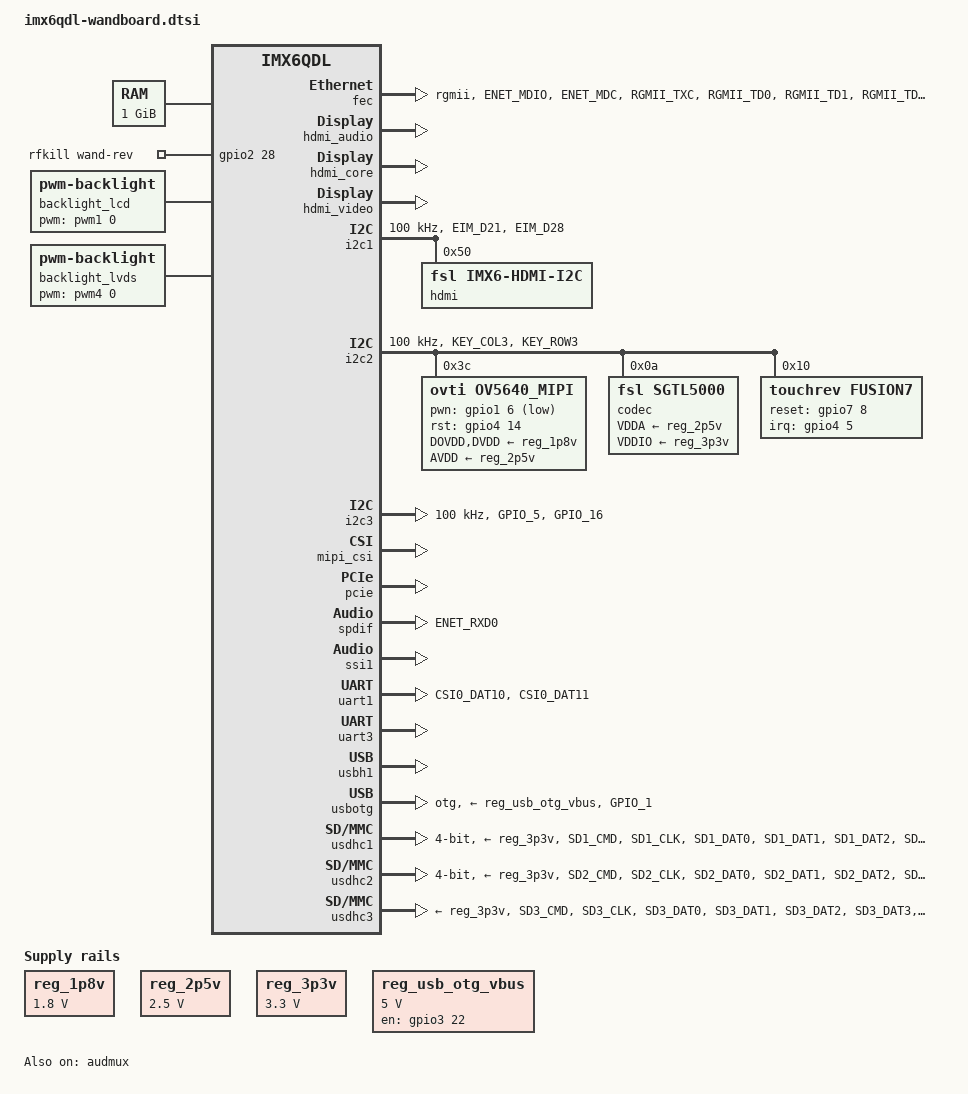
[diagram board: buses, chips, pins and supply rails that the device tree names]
/*
 * Copyright 2014 John Weber, Avnet Electronics Marketing
 * Copyright 2013 Boundary Devices
 * Copyright 2012 Freescale Semiconductor, Inc.
 * Copyright 2011 Linaro Ltd.
 *
 * The code contained herein is licensed under the GNU General Public
 * License. You may obtain a copy of the GNU General Public License
 * Version 2 or later at the following locations:
 *
 * http://www.opensource.org/licenses/gpl-license.html
 * http://www.gnu.org/copyleft/gpl.html
 */

/ {
	aliases {
		mxcfb0 = &mxcfb1;
		mxcfb1 = &mxcfb2;
		mxcfb2 = &mxcfb3;
		mxcfb3 = &mxcfb4;
	};

	memory {
		reg = <0x10000000 0x40000000>;
	};

	regulators {
		compatible = "simple-bus";

		reg_1p8v: 1p8v {
			compatible = "regulator-fixed";
			regulator-name = "1P8V";
			regulator-min-microvolt = <1800000>;
			regulator-max-microvolt = <1800000>;
			regulator-always-on;
		};

		reg_2p5v: 2p5v {
			compatible = "regulator-fixed";
			regulator-name = "2P5V";
			regulator-min-microvolt = <2500000>;
			regulator-max-microvolt = <2500000>;
			regulator-always-on;
		};

		reg_3p3v: 3p3v {
			compatible = "regulator-fixed";
			regulator-name = "3P3V";
			regulator-min-microvolt = <3300000>;
			regulator-max-microvolt = <3300000>;
			regulator-always-on;
		};

		reg_usb_otg_vbus: usb_otg_vbus {
			compatible = "regulator-fixed";
			regulator-name = "usb_otg_vbus";
			regulator-min-microvolt = <5000000>;
			regulator-max-microvolt = <5000000>;
			gpio = <&gpio3 22 0>;
			enable-active-high;
		};
	};

	sound {
		compatible = "fsl,imx6-wandboard-sgtl5000", 
                             "fsl,imx-audio-sgtl5000";
		model = "imx6-wandboard-sgtl5000";
		ssi-controller = <&ssi1>;
		audio-codec = <&codec>;
		audio-routing =
			"MIC_IN", "Mic Jack",
			"Mic Jack", "Mic Bias",
			"Headphone Jack", "HP_OUT";
		mux-int-port = <1>;
		mux-ext-port = <3>;
	};

        sound-spdif {
                compatible = "fsl,imx-audio-spdif";
                model = "imx-spdif";
                spdif-controller = <&spdif>;
                spdif-out;
        };

	sound-hdmi {
		compatible = "fsl,imx6q-audio-hdmi",
			     "fsl,imx-audio-hdmi";
		model = "imx-audio-hdmi";
		hdmi-controller = <&hdmi_audio>;
	};

        rfkill {
                compatible = "wand,imx6qdl-wandboard-rfkill";
                pinctrl-names = "default";
                pinctrl-0 = <>;

                bluetooth-on = <&gpio3 13 0>;
                bluetooth-wake = <&gpio3 14 0>;
                bluetooth-host-wake = <&gpio3 15 0>;

                wifi-ref-on = <&gpio2 29 0>;
                wifi-rst-n = <&gpio5 2 0>;
                wifi-reg-on = <&gpio1 26 0>;
                wifi-host-wake = <&gpio1 29 0>;
                wifi-wake = <&gpio1 30 0>;

		/* Rev C1 gpio definitions */
                bluetooth-on-revc1 = <&gpio5 21 0>;
                bluetooth-wake-revc1 = <&gpio5 30 0>;
                bluetooth-host-wake-revc1 = <&gpio5 20 0>;

                wifi-ref-on-revc1 = <&gpio5 31 0>;
                wifi-rst-n-revc1 = <&gpio6 0 0>;

		/* Rev B/C probe gpio */
		wand-rev-gpio = <&gpio2 28 0>;
        };

	mxcfb1: fb@0 {
		compatible = "fsl,mxc_sdc_fb";
		disp_dev = "hdmi";
		interface_pix_fmt = "RGB24";
		mode_str ="1920x1080M@60";
		default_bpp = <24>;
		int_clk = <0>;
		late_init = <0>;
		status = "disabled";
	};

        mxcfb2: fb@1 {
                compatible = "fsl,mxc_sdc_fb";
                disp_dev = "ldb";
                interface_pix_fmt = "RGB666";
                mode_str ="LDB-XGA";
                default_bpp = <16>;
                int_clk = <0>;
                late_init = <0>;
                status = "disabled";
        };

	mxcfb3: fb@2 {
		compatible = "fsl,mxc_sdc_fb";
		disp_dev = "lcd";
		interface_pix_fmt = "RGB565";
		mode_str ="CLAA-WVGA";
		default_bpp = <16>;
		int_clk = <0>;
		late_init = <0>;
		status = "disabled";
	};

	mxcfb4: fb@3 {
		compatible = "fsl,mxc_sdc_fb";
		disp_dev = "ldb";
		interface_pix_fmt = "RGB666";
		mode_str ="LDB-XGA";
		default_bpp = <16>;
		int_clk = <0>;
		late_init = <0>;
		status = "disabled";
	};

	lcd@0 {
		compatible = "fsl,lcd";
		ipu_id = <0>;
		disp_id = <0>;
		default_ifmt = "RGB565";
		pinctrl-names = "default";
		pinctrl-0 = <&pinctrl_ipu1_1>;
		status = "okay";
	};

	backlight_lcd {
		compatible = "pwm-backlight";
		pwms = <&pwm1 0 5000000>;
		brightness-levels = <0 4 8 16 32 64 128 255>;
		default-brightness-level = <7>;
	};

	backlight_lvds {
		compatible = "pwm-backlight";
		pwms = <&pwm4 0 5000000>;
		brightness-levels = <0 4 8 16 32 64 128 255>;
		default-brightness-level = <7>;
	};

	v4l2_cap_0 {
		compatible = "fsl,imx6q-v4l2-capture";
		ipu_id = <0>;
		csi_id = <0>;
		mclk_source = <0>;
		status = "okay";
	};

	v4l2_out {
		compatible = "fsl,mxc_v4l2_output";
		status = "okay";
	};

};


&audmux {
	pinctrl-names = "default";
	pinctrl-0 = <&pinctrl_audmux_2>;
	status = "okay";
};


&fec {
	pinctrl-names = "default";
	pinctrl-0 = <&pinctrl_enet_3>;
	phy-mode = "rgmii";
	status = "okay";
};

&hdmi_audio {
	status = "okay";
};

&hdmi_core {
	ipu_id = <0>;
	disp_id = <0>;
	status = "okay";
};

&hdmi_video {
	fsl,phy_reg_vlev = <0x0294>;
	fsl,phy_reg_cksymtx = <0x800d>;
	status = "okay";
};

&i2c1 {
	clock-frequency = <100000>;
	pinctrl-names = "default";
	pinctrl-0 = <&pinctrl_i2c1_1>;
	status = "okay";

	hdmi: edid@50 {
		compatible = "fsl,imx6-hdmi-i2c";
		reg = <0x50>;
	};

};

&i2c2 {
	clock-frequency = <100000>;
	pinctrl-names = "default";
	pinctrl-0 = <&pinctrl_i2c2_2>;
	status = "okay";

	ov5640_mipi: ov5640_mipi@3c {
		compatible = "ovti,ov5640_mipi";
		reg = <0x3c>;
		clocks = <&clks 200>;
		clock-names = "csi_mclk";
		DOVDD-supply = <&reg_1p8v>;
		AVDD-supply = <&reg_2p5v>;
		DVDD-supply = <&reg_1p8v>;
		pwn-gpios = <&gpio1 6 1>;
		rst-gpios = <&gpio4 14 0>;
		ipu_id = <0>;
		csi_id = <0>;
		mclk = <24000000>;
		mclk_source = <0>;
	};

	codec: sgtl5000@0a {
		compatible = "fsl,sgtl5000";
		reg = <0x0a>;
		clocks = <&clks 201>;
		VDDA-supply = <&reg_2p5v>;
		VDDIO-supply = <&reg_3p3v>;
	};

	fusion7: fusion7@10 {
		compatible = "touchrev,fusion7";
		reg = <0x10>; /* The reg property describes the address of the device's resources within the address space defined by its parent bus.  */
		pinctrl-0 = <&pinctrl_gpio>;
		pinctrl-names = "default";
		interrupt-parent = <&gpio4>;
		interrupts = <5 0>;
		reset-gpios=<&gpio7 8 0>; /*pin264  SD3_RST GPIO(7, 8)   gpio200   Touchscreen Reset  Output*/
		touch_xmax=<1499>;
		touch_ymax=<899>;
		flip_x=<0>;
		flip_y=<0>;
	};

};

&i2c3 {
        clock-frequency = <100000>;
        pinctrl-names = "default";
        pinctrl-0 = <&pinctrl_i2c3_3>;
        status = "okay";
};

/*
For reference here, the PAD_CTL bitfield definition from
Documentation/devicetree/bindings/pinctrl/fsl,imx6q-pinctrl.txt

CONFIG bits definition:
PAD_CTL_HYS                     (1 << 16)
PAD_CTL_PUS_100K_DOWN           (0 << 14)
PAD_CTL_PUS_47K_UP              (1 << 14)
PAD_CTL_PUS_100K_UP             (2 << 14)
PAD_CTL_PUS_22K_UP              (3 << 14)
PAD_CTL_PUE                     (1 << 13)
PAD_CTL_PKE                     (1 << 12)
PAD_CTL_ODE                     (1 << 11)
PAD_CTL_SPEED_LOW               (1 << 6)
PAD_CTL_SPEED_MED               (2 << 6)
PAD_CTL_SPEED_HIGH              (3 << 6)
PAD_CTL_DSE_DISABLE             (0 << 3)
PAD_CTL_DSE_240ohm              (1 << 3)
PAD_CTL_DSE_120ohm              (2 << 3)
PAD_CTL_DSE_80ohm               (3 << 3)
PAD_CTL_DSE_60ohm               (4 << 3)
PAD_CTL_DSE_48ohm               (5 << 3)
PAD_CTL_DSE_40ohm               (6 << 3)
PAD_CTL_DSE_34ohm               (7 << 3)
PAD_CTL_SRE_FAST                (1 << 0)
PAD_CTL_SRE_SLOW                (0 << 0)

Example, the Control Pad Setting

    0x0f0b0

corresponds to:

   0b1111000010110000

which is:

   PAD_CTL_PUS_22K_UP | PAD_CTL_PUE | PAD_CTL_PKE |
   PAD_CTL_SPEED_MED | PAD_CTL_DSE_40ohm

For more information about this, refer to the IOMUXC section of the i.MX6
reference manual.

*/

&iomuxc {
	pinctrl-names = "default";
	pinctrl-0 = <&pinctrl_hog_1>;

	imx6qdl-wandboard {
		pinctrl_hog_1: hoggrp-1 {
			fsl,pins = <
				MX6QDL_PAD_GPIO_0__CCM_CLKO1     	0x130b0
				MX6QDL_PAD_EIM_D22__USB_OTG_PWR		0x80000000	/* USB Power Enable */
				MX6QDL_PAD_GPIO_2__GPIO1_IO02		0x80000000	/* USDHC1 CD */
				MX6QDL_PAD_EIM_DA9__GPIO3_IO09		0x80000000	/* uSDHC3 CD */
				MX6QDL_PAD_GPIO_0__CCM_CLKO1		0x000b0		/* SGTL5000 sys_mclk */
				MX6QDL_PAD_GPIO_6__GPIO1_IO06		0x0b0b0		/* ov5640 mipi powerdown */
				MX6QDL_PAD_KEY_COL4__GPIO4_IO14		0x000b0		/* ov5640 mipi reset */
				MX6QDL_PAD_GPIO_3__CCM_CLKO2		0x000b0		/* ov5640 mclk */
				MX6QDL_PAD_EIM_A25__GPIO5_IO02		0x0f0b0		/* WIFI_ON (reset, active low) */
				MX6QDL_PAD_ENET_RXD1__GPIO1_IO26	0x000b0		/* WL_REG_ON (unused) */
				MX6QDL_PAD_ENET_TXD1__GPIO1_IO29	0x80000000	/* WL_HOST_WAKE, input */
				MX6QDL_PAD_EIM_EB1__GPIO2_IO29		0x0f0b0		/* EIM_EB1 (Wifi Power Enable) */
				MX6QDL_PAD_ENET_TXD0__GPIO1_IO30	0x80000000	/* WL_WAKE (unused) */
                                MX6QDL_PAD_EIM_D29__GPIO3_IO29   	0x80000000
                                MX6QDL_PAD_EIM_DA13__GPIO3_IO13  	0x80000000 	/* BT_ON */
                                MX6QDL_PAD_EIM_DA14__GPIO3_IO14  	0x80000000 	/* BT_WAKE */
                                MX6QDL_PAD_EIM_DA15__GPIO3_IO15  	0x80000000 	/* BT_HOST_WAKE */
				MX6QDL_PAD_EIM_EB0__GPIO2_IO28		0x1B880         /* Wandboard C1 Revision check */
				/* GPIO used in Wandboard rev C1 */
				MX6QDL_PAD_CSI0_DAT14__GPIO6_IO00	0x0f0b0		/* WIFI_ON (reset, active low) */
				MX6QDL_PAD_CSI0_DAT13__GPIO5_IO31	0x0f0b0		/* GPIO5_IO31 (Wifi Power Enable) */
				MX6QDL_PAD_CSI0_VSYNC__GPIO5_IO21	0x80000000	/* BT_ON */
				MX6QDL_PAD_CSI0_DAT12__GPIO5_IO30	0x80000000	/* BT_WAKE */
				MX6QDL_PAD_CSI0_DATA_EN__GPIO5_IO20     0x80000000	/*BT_HOST_WAKE */
			>;
		};

	        pinctrl_spdif_wand: spdifgrp {
	                fsl,pins = <
				MX6QDL_PAD_ENET_RXD0__SPDIF_OUT                 0x1b0b0
			>;
	        };
	};
	gpio {
		pinctrl_gpio: gpiogrp {
			fsl,pins = <
                                MX6QDL_PAD_EIM_DA12__GPIO3_IO12   0x1B880 /* GPIO3_12 EDM pin 255 */
                                MX6QDL_PAD_EIM_DA11__GPIO3_IO11   0x1B880 /* GPIO3_11 EDM pin 256 */
                                MX6QDL_PAD_EIM_DA10__GPIO3_IO10   0x1B880 /* GPIO3_10 EDM pin 257 */
                                MX6QDL_PAD_EIM_D27__GPIO3_IO27    0x1B880 /* GPIO3_27 EDM pin 258 */
                                MX6QDL_PAD_EIM_D26__GPIO3_IO26    0x1B880 /* GPIO3_26 EDM pin 259 */
                                MX6QDL_PAD_EIM_BCLK__GPIO6_IO31   0x1B880 /* GPIO6_31 EDM pin 260 */
                                MX6QDL_PAD_EIM_DA8__GPIO3_IO08    0x1B880 /* GPIO3_8  EDM pin 261 */
                                MX6QDL_PAD_ENET_RX_ER__GPIO1_IO24 0x1B880 /* GPIO1_24 EDM pin 262 */
                                MX6QDL_PAD_GPIO_19__GPIO4_IO05    0x1B880 /* GPIO4_5  EDM pin 263 */
                                MX6QDL_PAD_SD3_RST__GPIO7_IO08    0x1B880 /* GPIO7_8  EDM pin 264 */
			>;
		};
	};

	usdhc1 {
                pinctrl_usdhc1_1: usdhc1grp-1 {
                        fsl,pins = <
                                MX6QDL_PAD_SD1_CMD__SD1_CMD    0x17071
                                MX6QDL_PAD_SD1_CLK__SD1_CLK    0x10071
                                MX6QDL_PAD_SD1_DAT0__SD1_DATA0 0x17071
                                MX6QDL_PAD_SD1_DAT1__SD1_DATA1 0x17071
                                MX6QDL_PAD_SD1_DAT2__SD1_DATA2 0x17071
                                MX6QDL_PAD_SD1_DAT3__SD1_DATA3 0x17071
                        >;
                };
        };

        usdhc2 {
                pinctrl_usdhc2_1: usdhc2grp-1 {
                        fsl,pins = <
                                MX6QDL_PAD_SD2_CMD__SD2_CMD    0x17059
                                MX6QDL_PAD_SD2_CLK__SD2_CLK    0x10059
                                MX6QDL_PAD_SD2_DAT0__SD2_DATA0 0x17059
                                MX6QDL_PAD_SD2_DAT1__SD2_DATA1 0x17059
                                MX6QDL_PAD_SD2_DAT2__SD2_DATA2 0x17059
                                MX6QDL_PAD_SD2_DAT3__SD2_DATA3 0x17059
                                MX6QDL_PAD_NANDF_D4__SD2_DATA4 0x17059
                                MX6QDL_PAD_NANDF_D5__SD2_DATA5 0x17059
                                MX6QDL_PAD_NANDF_D6__SD2_DATA6 0x17059
                                MX6QDL_PAD_NANDF_D7__SD2_DATA7 0x17059
                        >;
                };

                pinctrl_usdhc2_2: usdhc2grp-2 {
                        fsl,pins = <
                                MX6QDL_PAD_SD2_CMD__SD2_CMD    0x17059
                                MX6QDL_PAD_SD2_CLK__SD2_CLK    0x10059
                                MX6QDL_PAD_SD2_DAT0__SD2_DATA0 0x17059
                                MX6QDL_PAD_SD2_DAT1__SD2_DATA1 0x17059
                                MX6QDL_PAD_SD2_DAT2__SD2_DATA2 0x17059
                                MX6QDL_PAD_SD2_DAT3__SD2_DATA3 0x17059
                        >;
                };
        };


        usdhc3 {
                pinctrl_usdhc3_1: usdhc3grp-1 {
                        fsl,pins = <
                                MX6QDL_PAD_SD3_CMD__SD3_CMD    0x17059
                                MX6QDL_PAD_SD3_CLK__SD3_CLK    0x10059
                                MX6QDL_PAD_SD3_DAT0__SD3_DATA0 0x17059
                                MX6QDL_PAD_SD3_DAT1__SD3_DATA1 0x17059
                                MX6QDL_PAD_SD3_DAT2__SD3_DATA2 0x17059
                                MX6QDL_PAD_SD3_DAT3__SD3_DATA3 0x17059
                                MX6QDL_PAD_SD3_DAT4__SD3_DATA4 0x17059
                                MX6QDL_PAD_SD3_DAT5__SD3_DATA5 0x17059
                                MX6QDL_PAD_SD3_DAT6__SD3_DATA6 0x17059
                                MX6QDL_PAD_SD3_DAT7__SD3_DATA7 0x17059
                        >;
                };

                pinctrl_usdhc3_1_100mhz: usdhc3grp-1-100mhz { /* 100Mhz */
                        fsl,pins = <
                                MX6QDL_PAD_SD3_CMD__SD3_CMD 0x170B9
                                MX6QDL_PAD_SD3_CLK__SD3_CLK 0x100B9
                                MX6QDL_PAD_SD3_DAT0__SD3_DATA0 0x170B9
                                MX6QDL_PAD_SD3_DAT1__SD3_DATA1 0x170B9
                                MX6QDL_PAD_SD3_DAT2__SD3_DATA2 0x170B9
                                MX6QDL_PAD_SD3_DAT3__SD3_DATA3 0x170B9
                                MX6QDL_PAD_SD3_DAT4__SD3_DATA4 0x170B9
                                MX6QDL_PAD_SD3_DAT5__SD3_DATA5 0x170B9
                                MX6QDL_PAD_SD3_DAT6__SD3_DATA6 0x170B9
                                MX6QDL_PAD_SD3_DAT7__SD3_DATA7 0x170B9
                        >;
                };

                pinctrl_usdhc3_1_200mhz: usdhc3grp-1-200mhz { /* 200Mhz */
                        fsl,pins = <
                                MX6QDL_PAD_SD3_CMD__SD3_CMD 0x170F9
                                MX6QDL_PAD_SD3_CLK__SD3_CLK 0x100F9
                                MX6QDL_PAD_SD3_DAT0__SD3_DATA0 0x170F9
                                MX6QDL_PAD_SD3_DAT1__SD3_DATA1 0x170F9
                                MX6QDL_PAD_SD3_DAT2__SD3_DATA2 0x170F9
                                MX6QDL_PAD_SD3_DAT3__SD3_DATA3 0x170F9
                                MX6QDL_PAD_SD3_DAT4__SD3_DATA4 0x170F9
                                MX6QDL_PAD_SD3_DAT5__SD3_DATA5 0x170F9
                                MX6QDL_PAD_SD3_DAT6__SD3_DATA6 0x170F9
                                MX6QDL_PAD_SD3_DAT7__SD3_DATA7 0x170F9
                        >;
                };

                pinctrl_usdhc3_2: usdhc3grp-2 {
                        fsl,pins = <
                                MX6QDL_PAD_SD3_CMD__SD3_CMD    0x17059
                                MX6QDL_PAD_SD3_CLK__SD3_CLK    0x10059
                                MX6QDL_PAD_SD3_DAT0__SD3_DATA0 0x17059
                                MX6QDL_PAD_SD3_DAT1__SD3_DATA1 0x17059
                                MX6QDL_PAD_SD3_DAT2__SD3_DATA2 0x17059
                                MX6QDL_PAD_SD3_DAT3__SD3_DATA3 0x17059
                        >;
                };
        };


	enet {
                pinctrl_enet_1: enetgrp-1 {
                        fsl,pins = <
                                MX6QDL_PAD_ENET_MDIO__ENET_MDIO       0x1b0b0
                                MX6QDL_PAD_ENET_MDC__ENET_MDC         0x1b0b0
                                MX6QDL_PAD_RGMII_TXC__RGMII_TXC       0x1b0b0
                                MX6QDL_PAD_RGMII_TD0__RGMII_TD0       0x1b0b0
                                MX6QDL_PAD_RGMII_TD1__RGMII_TD1       0x1b0b0
                                MX6QDL_PAD_RGMII_TD2__RGMII_TD2       0x1b0b0
                                MX6QDL_PAD_RGMII_TD3__RGMII_TD3       0x1b0b0
                                MX6QDL_PAD_RGMII_TX_CTL__RGMII_TX_CTL 0x1b0b0
                                MX6QDL_PAD_ENET_REF_CLK__ENET_TX_CLK  0x1b0b0
                                MX6QDL_PAD_RGMII_RXC__RGMII_RXC       0x1b0b0
                                MX6QDL_PAD_RGMII_RD0__RGMII_RD0       0x1b0b0
                                MX6QDL_PAD_RGMII_RD1__RGMII_RD1       0x1b0b0
                                MX6QDL_PAD_RGMII_RD2__RGMII_RD2       0x1b0b0
                                MX6QDL_PAD_RGMII_RD3__RGMII_RD3       0x1b0b0
                                MX6QDL_PAD_RGMII_RX_CTL__RGMII_RX_CTL 0x1b0b0
                                MX6QDL_PAD_GPIO_16__ENET_REF_CLK      0x4001b0a8
                        >;
                };

                pinctrl_enet_2: enetgrp-2 {
                        fsl,pins = <
                                MX6QDL_PAD_KEY_COL1__ENET_MDIO        0x1b0b0
                                MX6QDL_PAD_KEY_COL2__ENET_MDC         0x1b0b0
                                MX6QDL_PAD_RGMII_TXC__RGMII_TXC       0x1b0b0
                                MX6QDL_PAD_RGMII_TD0__RGMII_TD0       0x1b0b0
                                MX6QDL_PAD_RGMII_TD1__RGMII_TD1       0x1b0b0
                                MX6QDL_PAD_RGMII_TD2__RGMII_TD2       0x1b0b0
                                MX6QDL_PAD_RGMII_TD3__RGMII_TD3       0x1b0b0
                                MX6QDL_PAD_RGMII_TX_CTL__RGMII_TX_CTL 0x1b0b0
                                MX6QDL_PAD_ENET_REF_CLK__ENET_TX_CLK  0x1b0b0
                                MX6QDL_PAD_RGMII_RXC__RGMII_RXC       0x1b0b0
                                MX6QDL_PAD_RGMII_RD0__RGMII_RD0       0x1b0b0
                                MX6QDL_PAD_RGMII_RD1__RGMII_RD1       0x1b0b0
                                MX6QDL_PAD_RGMII_RD2__RGMII_RD2       0x1b0b0
                                MX6QDL_PAD_RGMII_RD3__RGMII_RD3       0x1b0b0
                                MX6QDL_PAD_RGMII_RX_CTL__RGMII_RX_CTL 0x1b0b0
                                MX6QDL_PAD_GPIO_16__ENET_REF_CLK      0x4001b0a8
                        >;
                };

                pinctrl_enet_3: enetgrp-3 {
                        fsl,pins = <
                                MX6QDL_PAD_ENET_MDIO__ENET_MDIO       0x1b0b0
                                MX6QDL_PAD_ENET_MDC__ENET_MDC         0x1b0b0
                                MX6QDL_PAD_RGMII_TXC__RGMII_TXC       0x1b0b0
                                MX6QDL_PAD_RGMII_TD0__RGMII_TD0       0x1b0b0
                                MX6QDL_PAD_RGMII_TD1__RGMII_TD1       0x1b0b0
                                MX6QDL_PAD_RGMII_TD2__RGMII_TD2       0x1b0b0
                                MX6QDL_PAD_RGMII_TD3__RGMII_TD3       0x1b0b0
                                MX6QDL_PAD_RGMII_TX_CTL__RGMII_TX_CTL 0x1b0b0
                                MX6QDL_PAD_ENET_REF_CLK__ENET_TX_CLK  0x1b0b0
                                MX6QDL_PAD_RGMII_RXC__RGMII_RXC       0x1b0b0
                                MX6QDL_PAD_RGMII_RD0__RGMII_RD0       0x1b0b0
                                MX6QDL_PAD_RGMII_RD1__RGMII_RD1       0x1b0b0
                                MX6QDL_PAD_RGMII_RD2__RGMII_RD2       0x1b0b0
                                MX6QDL_PAD_RGMII_RD3__RGMII_RD3       0x1b0b0
                                MX6QDL_PAD_RGMII_RX_CTL__RGMII_RX_CTL 0x1b0b0
                                MX6QDL_PAD_ENET_TX_EN__ENET_TX_EN     0x1b0b0
                        >;
                };
        };


        usbotg {
                pinctrl_usbotg_1: usbotggrp-1 {
                        fsl,pins = <
                                MX6QDL_PAD_GPIO_1__USB_OTG_ID 0x17059
                        >;
                };

                pinctrl_usbotg_2: usbotggrp-2 {
                        fsl,pins = <
                                MX6QDL_PAD_ENET_RX_ER__USB_OTG_ID 0x17059
                        >;
                };
        };

        i2c1 {
                pinctrl_i2c1_1: i2c1grp-1 {
                        fsl,pins = <
                                MX6QDL_PAD_EIM_D21__I2C1_SCL 0x4001b8b1
                                MX6QDL_PAD_EIM_D28__I2C1_SDA 0x4001b8b1
                        >;
                };

                pinctrl_i2c1_2: i2c1grp-2 {
                        fsl,pins = <
                                MX6QDL_PAD_CSI0_DAT8__I2C1_SDA 0x4001b8b1
                                MX6QDL_PAD_CSI0_DAT9__I2C1_SCL 0x4001b8b1
                        >;
                };
        };

        i2c2 {
                pinctrl_i2c2_1: i2c2grp-1 {
                        fsl,pins = <
                                MX6QDL_PAD_EIM_EB2__I2C2_SCL 0x4001b8b1
                                MX6QDL_PAD_EIM_D16__I2C2_SDA 0x4001b8b1
                        >;
                };

                pinctrl_i2c2_2: i2c2grp-2 {
                        fsl,pins = <
                                MX6QDL_PAD_KEY_COL3__I2C2_SCL 0x4001b8b1
                                MX6QDL_PAD_KEY_ROW3__I2C2_SDA 0x4001b8b1
                        >;
                };

                pinctrl_i2c2_3: i2c2grp-3 {
                        fsl,pins = <
                                MX6QDL_PAD_EIM_EB2__I2C2_SCL  0x4001b8b1
                                MX6QDL_PAD_KEY_ROW3__I2C2_SDA 0x4001b8b1
                        >;
                };
        };



        i2c3 {
                pinctrl_i2c3_1: i2c3grp-1 {
                        fsl,pins = <
                                MX6QDL_PAD_EIM_D17__I2C3_SCL 0x4001b8b1
                                MX6QDL_PAD_EIM_D18__I2C3_SDA 0x4001b8b1
                        >;
                };

                pinctrl_i2c3_2: i2c3grp-2 {
                        fsl,pins = <
                                MX6QDL_PAD_GPIO_3__I2C3_SCL 0x4001b8b1
                                MX6QDL_PAD_GPIO_6__I2C3_SDA 0x4001b8b1
                        >;
                };

                pinctrl_i2c3_3: i2c3grp-3 {
                        fsl,pins = <
                                MX6QDL_PAD_GPIO_5__I2C3_SCL  0x4001b8b1
                                MX6QDL_PAD_GPIO_16__I2C3_SDA 0x4001b8b1
                        >;
                };

                pinctrl_i2c3_4: i2c3grp-4 {
                        fsl,pins = <
                                MX6QDL_PAD_GPIO_3__I2C3_SCL  0x4001b8b1
                                MX6QDL_PAD_EIM_D18__I2C3_SDA 0x4001b8b1
                        >;
                };
        };


        ipu1 {
                pinctrl_ipu1_1: ipu1grp-1 {
                        fsl,pins = <
                                MX6QDL_PAD_DI0_DISP_CLK__IPU1_DI0_DISP_CLK 0x10
                                MX6QDL_PAD_DI0_PIN15__IPU1_DI0_PIN15       0x10
                                MX6QDL_PAD_DI0_PIN2__IPU1_DI0_PIN02        0x10
                                MX6QDL_PAD_DI0_PIN3__IPU1_DI0_PIN03        0x10
                                MX6QDL_PAD_DI0_PIN4__IPU1_DI0_PIN04        0x80000000
                                MX6QDL_PAD_DISP0_DAT0__IPU1_DISP0_DATA00   0x10
                                MX6QDL_PAD_DISP0_DAT1__IPU1_DISP0_DATA01   0x10
                                MX6QDL_PAD_DISP0_DAT2__IPU1_DISP0_DATA02   0x10
                                MX6QDL_PAD_DISP0_DAT3__IPU1_DISP0_DATA03   0x10
                                MX6QDL_PAD_DISP0_DAT4__IPU1_DISP0_DATA04   0x10
                                MX6QDL_PAD_DISP0_DAT5__IPU1_DISP0_DATA05   0x10
                                MX6QDL_PAD_DISP0_DAT6__IPU1_DISP0_DATA06   0x10
                                MX6QDL_PAD_DISP0_DAT7__IPU1_DISP0_DATA07   0x10
                                MX6QDL_PAD_DISP0_DAT8__IPU1_DISP0_DATA08   0x10
                                MX6QDL_PAD_DISP0_DAT9__IPU1_DISP0_DATA09   0x10
                                MX6QDL_PAD_DISP0_DAT10__IPU1_DISP0_DATA10  0x10
                                MX6QDL_PAD_DISP0_DAT11__IPU1_DISP0_DATA11  0x10
                                MX6QDL_PAD_DISP0_DAT12__IPU1_DISP0_DATA12  0x10
                                MX6QDL_PAD_DISP0_DAT13__IPU1_DISP0_DATA13  0x10
                                MX6QDL_PAD_DISP0_DAT14__IPU1_DISP0_DATA14  0x10
                                MX6QDL_PAD_DISP0_DAT15__IPU1_DISP0_DATA15  0x10
                                MX6QDL_PAD_DISP0_DAT16__IPU1_DISP0_DATA16  0x10
                                MX6QDL_PAD_DISP0_DAT17__IPU1_DISP0_DATA17  0x10
                                MX6QDL_PAD_DISP0_DAT18__IPU1_DISP0_DATA18  0x10
                                MX6QDL_PAD_DISP0_DAT19__IPU1_DISP0_DATA19  0x10
                                MX6QDL_PAD_DISP0_DAT20__IPU1_DISP0_DATA20  0x10
                                MX6QDL_PAD_DISP0_DAT21__IPU1_DISP0_DATA21  0x10
                                MX6QDL_PAD_DISP0_DAT22__IPU1_DISP0_DATA22  0x10
                                MX6QDL_PAD_DISP0_DAT23__IPU1_DISP0_DATA23  0x10
                        >;
                };

                pinctrl_ipu1_2: ipu1grp-2 { /* parallel camera */
                        fsl,pins = <
                                MX6QDL_PAD_CSI0_DAT12__IPU1_CSI0_DATA12    0x80000000
                                MX6QDL_PAD_CSI0_DAT13__IPU1_CSI0_DATA13    0x80000000
                                MX6QDL_PAD_CSI0_DAT14__IPU1_CSI0_DATA14    0x80000000
                                MX6QDL_PAD_CSI0_DAT15__IPU1_CSI0_DATA15    0x80000000
                                MX6QDL_PAD_CSI0_DAT16__IPU1_CSI0_DATA16    0x80000000
                                MX6QDL_PAD_CSI0_DAT17__IPU1_CSI0_DATA17    0x80000000
                                MX6QDL_PAD_CSI0_DAT18__IPU1_CSI0_DATA18    0x80000000
                                MX6QDL_PAD_CSI0_DAT19__IPU1_CSI0_DATA19    0x80000000
                                MX6QDL_PAD_CSI0_DATA_EN__IPU1_CSI0_DATA_EN 0x80000000
                                MX6QDL_PAD_CSI0_PIXCLK__IPU1_CSI0_PIXCLK   0x80000000
                                MX6QDL_PAD_CSI0_MCLK__IPU1_CSI0_HSYNC      0x80000000
                                MX6QDL_PAD_CSI0_VSYNC__IPU1_CSI0_VSYNC     0x80000000
                        >;
                };

                pinctrl_ipu1_3: ipu1grp-3 { /* parallel port 16-bit */
                        fsl,pins = <
                                MX6QDL_PAD_CSI0_DAT4__IPU1_CSI0_DATA04   0x80000000
                                MX6QDL_PAD_CSI0_DAT5__IPU1_CSI0_DATA05   0x80000000
                                MX6QDL_PAD_CSI0_DAT6__IPU1_CSI0_DATA06   0x80000000
                                MX6QDL_PAD_CSI0_DAT7__IPU1_CSI0_DATA07   0x80000000
                                MX6QDL_PAD_CSI0_DAT8__IPU1_CSI0_DATA08   0x80000000
                                MX6QDL_PAD_CSI0_DAT9__IPU1_CSI0_DATA09   0x80000000
                                MX6QDL_PAD_CSI0_DAT10__IPU1_CSI0_DATA10  0x80000000
                                MX6QDL_PAD_CSI0_DAT11__IPU1_CSI0_DATA11  0x80000000
                                MX6QDL_PAD_CSI0_DAT12__IPU1_CSI0_DATA12  0x80000000
                                MX6QDL_PAD_CSI0_DAT13__IPU1_CSI0_DATA13  0x80000000
                                MX6QDL_PAD_CSI0_DAT14__IPU1_CSI0_DATA14  0x80000000
                                MX6QDL_PAD_CSI0_DAT15__IPU1_CSI0_DATA15  0x80000000
                                MX6QDL_PAD_CSI0_DAT16__IPU1_CSI0_DATA16  0x80000000
                                MX6QDL_PAD_CSI0_DAT17__IPU1_CSI0_DATA17  0x80000000
                                MX6QDL_PAD_CSI0_DAT18__IPU1_CSI0_DATA18  0x80000000
                                MX6QDL_PAD_CSI0_DAT19__IPU1_CSI0_DATA19  0x80000000
                                MX6QDL_PAD_CSI0_PIXCLK__IPU1_CSI0_PIXCLK 0x80000000
                                MX6QDL_PAD_CSI0_MCLK__IPU1_CSI0_HSYNC    0x80000000
                                MX6QDL_PAD_CSI0_VSYNC__IPU1_CSI0_VSYNC   0x80000000
                        >;
                };
        };


       audmux {
                pinctrl_audmux_1: audmux-1 {
                        fsl,pins = <
                                MX6QDL_PAD_SD2_DAT0__AUD4_RXD  0x130b0
                                MX6QDL_PAD_SD2_DAT3__AUD4_TXC  0x130b0
                                MX6QDL_PAD_SD2_DAT2__AUD4_TXD  0x110b0
                                MX6QDL_PAD_SD2_DAT1__AUD4_TXFS 0x130b0
                        >;
                };

                pinctrl_audmux_2: audmux-2 {
                        fsl,pins = <
                                MX6QDL_PAD_CSI0_DAT7__AUD3_RXD  0x130b0
                                MX6QDL_PAD_CSI0_DAT4__AUD3_TXC  0x130b0
                                MX6QDL_PAD_CSI0_DAT5__AUD3_TXD  0x110b0
                                MX6QDL_PAD_CSI0_DAT6__AUD3_TXFS 0x130b0
                        >;
                };

                pinctrl_audmux_3: audmux-3 {
                        fsl,pins = <
                                MX6QDL_PAD_DISP0_DAT16__AUD5_TXC  0x130b0
                                MX6QDL_PAD_DISP0_DAT18__AUD5_TXFS 0x130b0
                                MX6QDL_PAD_DISP0_DAT19__AUD5_RXD  0x130b0
                        >;
                };
        };


	uart1 {
                pinctrl_uart1_1: uart1grp-1 {
                        fsl,pins = <
                                MX6QDL_PAD_CSI0_DAT10__UART1_TX_DATA 0x1b0b1
                                MX6QDL_PAD_CSI0_DAT11__UART1_RX_DATA 0x1b0b1
                        >;
                };
        };

        uart2 {
                pinctrl_uart2_1: uart2grp-1 {
                        fsl,pins = <
                                MX6QDL_PAD_EIM_D26__UART2_TX_DATA 0x1b0b1
                                MX6QDL_PAD_EIM_D27__UART2_RX_DATA 0x1b0b1
                        >;
                };

                pinctrl_uart2_2: uart2grp-2 { /* DTE mode */
                        fsl,pins = <
                                MX6QDL_PAD_EIM_D26__UART2_RX_DATA   0x1b0b1
                                MX6QDL_PAD_EIM_D27__UART2_TX_DATA   0x1b0b1
                                MX6QDL_PAD_EIM_D28__UART2_DTE_CTS_B 0x1b0b1
                                MX6QDL_PAD_EIM_D29__UART2_DTE_RTS_B 0x1b0b1
                        >;
                };
        };

        uart3 {
                pinctrl_uart3_1: uart3grp-1 {
                        fsl,pins = <
                                MX6QDL_PAD_SD4_CLK__UART3_RX_DATA 0x1b0b1
                                MX6QDL_PAD_SD4_CMD__UART3_TX_DATA 0x1b0b1
                                MX6QDL_PAD_EIM_D30__UART3_CTS_B   0x1b0b1
                                MX6QDL_PAD_EIM_EB3__UART3_RTS_B   0x1b0b1
                        >;
                };
        };

        uart4 {
                pinctrl_uart4_1: uart4grp-1 {
                        fsl,pins = <
                                MX6QDL_PAD_KEY_COL0__UART4_TX_DATA 0x1b0b1
                                MX6QDL_PAD_KEY_ROW0__UART4_RX_DATA 0x1b0b1
                        >;
                };
        };

};


#if 0
&ldb {
	ipu_id = <0>;
	disp_id = <1>;
	ext_ref = <1>;
	mode = "sin0";
	sec_ipu_id = <1>;
	sec_disp_id = <1>;
	status = "okay";
};
#endif

&mipi_csi {
	ipu_id = <0>;
	csi_id = <0>;
	v_channel = <0>;
	lanes = <2>;
	status = "okay";
};

&pcie {
	status = "okay";
};

#if 0
&pwm1 {
	pinctrl-names = "default";
	pinctrl-0 = <&pinctrl_pwm1_1>;
	status = "okay";
};

&pwm3 {
	pinctrl-names = "default";
	pinctrl-0 = <&pinctrl_pwm3_2>;
	status = "okay";
};

&pwm4 {
	pinctrl-names = "default";
	pinctrl-0 = <&pinctrl_pwm4_2>;
	status = "okay";
};
#endif

&spdif {
        pinctrl-names = "default";
        pinctrl-0 = <&pinctrl_spdif_wand>;
        status = "okay";
};

&ssi1 {
	fsl,mode = "i2s-slave";
	status = "okay";
};

&uart1 {
	pinctrl-names = "default";
	pinctrl-0 = <&pinctrl_uart1_1>;
	status = "okay";
};

&uart3 {
        pinctrl-names = "default";
        pinctrl-0 = <&pinctrl_uart3_2>;
        fsl,uart-has-rtscts;
        status = "okay";
};

&usbh1 {
	status = "okay";
};

&usbotg {
	vbus-supply = <&reg_usb_otg_vbus>;
	pinctrl-names = "default";
	pinctrl-0 = <&pinctrl_usbotg_1>;
	disable-over-current;
	dr_mode = "otg";
	status = "okay";
};

&usdhc1 {  /* Baseboard microSD slot */
	pinctrl-names = "default";
	pinctrl-0 = <&pinctrl_usdhc1_1>;
	bus-width = <4>;
	vmmc-supply = <&reg_3p3v>;
	cd-gpios = <&gpio1 2 0>;
	status = "okay";
};

&usdhc2 {  /* Broadcom Wifi/BT  */
	pinctrl-names = "default";
	pinctrl-0 = <&pinctrl_usdhc2_2>;
	bus-width = <4>;
	//non-removable;
	vmmc-supply = <&reg_3p3v>;
	keep-power-in-suspend;
	status = "okay";
};

&usdhc3 { /* Module microSD slot */
	pinctrl-names = "default";
	pinctrl-0 = <&pinctrl_usdhc3_2>;
	vmmc-supply = <&reg_3p3v>;
        cd-gpios = <&gpio3 9 0>;
	status = "okay";
};
